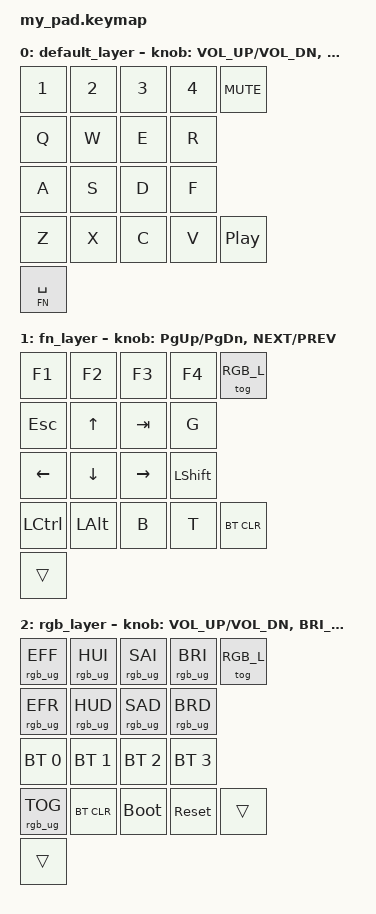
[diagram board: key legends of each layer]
/*
 * Copyright (c) 2024 The ZMK Contributors
 * SPDX-License-Identifier: MIT
 * 
 * 左手游戏小键盘 - 按键映射
 * 17 个按键 + 2 个旋钮
 * 
 * 物理布局:
 *        [1]  [2]  [3]  [4]     [旋钮2]
 *      [Q]     [W]  [E]  [R]
 *       [A]  [S]     [D]  [F]
 * [旋钮1]    [Z]  [X]  [C]  [V]
 *              [  Space  ]
 */

#include <behaviors.dtsi>
#include <dt-bindings/zmk/keys.h>
#include <dt-bindings/zmk/rgb.h>
#include <dt-bindings/zmk/bt.h>

/* 层定义 */
#define DEFAULT 0
#define FN      1
#define RGB_L   2

/ {
    /* 
     * ============================================================
     * 自定义行为 (Behaviors)
     * ============================================================
     */
    behaviors {
        /* 长按进入 FN 层，短按是普通按键 */
        lt_spc: layer_tap_space {
            compatible = "zmk,behavior-hold-tap";
            #binding-cells = <2>;
            flavor = "balanced";
            tapping-term-ms = <200>;
            bindings = <&mo>, <&kp>;
        };
    };

    keymap {
        compatible = "zmk,keymap";

        /* 
         * ============================================================
         * 默认层 (游戏层)
         * ============================================================
         * 
         * 矩阵位置:
         *   Row0: [1]    [2]    [3]    [4]    [ENC2]
         *   Row1: [Q]    [W]    [E]    [R]    
         *   Row2: [A]    [S]    [D]    [F]    
         *   Row3: [Z]    [X]    [C]    [V]    [ENC1]
         *   Row4: [SPC]
         */
        default_layer {
            bindings = <
                /* Row 0: 数字键 + 旋钮2按压(静音) */
                &kp N1    &kp N2    &kp N3    &kp N4    &kp C_MUTE
                
                /* Row 1: QWER */
                &kp Q     &kp W     &kp E     &kp R
                
                /* Row 2: ASDF */
                &kp A     &kp S     &kp D     &kp F
                
                /* Row 3: ZXCV + 旋钮1按压(播放/暂停) */
                &kp Z     &kp X     &kp C     &kp V     &kp C_PP
                
                /* Row 4: 空格 (长按进入 FN 层) */
                &lt_spc FN SPACE
            >;

            /* 旋钮旋转功能 */
            sensor-bindings = <
                &inc_dec_kp C_VOL_UP C_VOL_DN    /* 左旋钮: 音量 */
                &inc_dec_kp C_BRI_UP C_BRI_DN    /* 右旋钮: 亮度 */
            >;
        };

        /* 
         * ============================================================
         * FN 层 (功能层)
         * ============================================================
         * 长按空格激活
         * 
         *   Row0: [F1]   [F2]   [F3]   [F4]   [RGB]
         *   Row1: [ESC]  [↑]    [TAB]  [G]    
         *   Row2: [←]    [↓]    [→]    [SHFT] 
         *   Row3: [CTRL] [ALT]  [B]    [T]    [BT]
         *   Row4: [___]
         */
        fn_layer {
            bindings = <
                /* Row 0: F1-F4 + 旋钮2按压(切换RGB层) */
                &kp F1    &kp F2    &kp F3    &kp F4    &tog RGB_L
                
                /* Row 1: ESC, 方向键上, TAB, G */
                &kp ESC   &kp UP    &kp TAB   &kp G
                
                /* Row 2: 方向键 左下右, SHIFT */
                &kp LEFT  &kp DOWN  &kp RIGHT &kp LSHFT
                
                /* Row 3: 修饰键 + 旋钮1按压(清除蓝牙) */
                &kp LCTRL &kp LALT  &kp B     &kp T     &bt BT_CLR
                
                /* Row 4: 透传 (保持空格功能) */
                &trans
            >;

            sensor-bindings = <
                &inc_dec_kp PG_UP PG_DN         /* 左旋钮: 翻页 */
                &inc_dec_kp C_NEXT C_PREV       /* 右旋钮: 切歌 */
            >;
        };

        /* 
         * ============================================================
         * RGB 控制层
         * ============================================================
         * 按旋钮2进入/退出
         */
        rgb_layer {
            bindings = <
                /* Row 0: RGB 效果控制 */
                &rgb_ug RGB_EFF  &rgb_ug RGB_HUI  &rgb_ug RGB_SAI  &rgb_ug RGB_BRI  &tog RGB_L
                
                /* Row 1: RGB 反向控制 */
                &rgb_ug RGB_EFR  &rgb_ug RGB_HUD  &rgb_ug RGB_SAD  &rgb_ug RGB_BRD
                
                /* Row 2: 蓝牙配置 */
                &bt BT_SEL 0     &bt BT_SEL 1     &bt BT_SEL 2     &bt BT_SEL 3
                
                /* Row 3: 系统控制 */
                &rgb_ug RGB_TOG  &bt BT_CLR       &bootloader      &sys_reset       &trans
                
                /* Row 4 */
                &trans
            >;

            sensor-bindings = <
                &inc_dec_kp C_VOL_UP C_VOL_DN
                &inc_dec_kp C_BRI_UP C_BRI_DN
            >;
        };
    };
};
